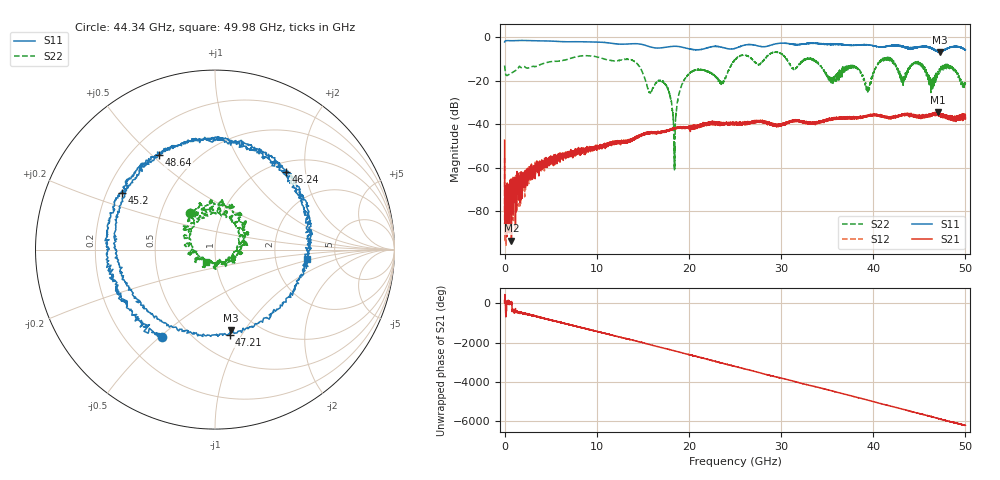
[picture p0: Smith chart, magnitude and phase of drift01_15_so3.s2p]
!Created with skrf (http://scikit-rf.org).
# Hz S RI R 50.0
!freq ReS11 ImS11 ReS21 ImS21 ReS12 ImS12 ReS22 ImS22
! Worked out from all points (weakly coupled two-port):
!   10001 points, 300 kHz to 50 GHz, reference 50 ohm
!   highest |S21| = -34.29 dB at 47 GHz (marker M1); lowest = -93.6 dB at 745.3 MHz (marker M2)
!   lowest |S11| = -6.8 dB at 47.21 GHz (marker M3), VSWR 2.69, Z = 38.1 - j43.5 ohm
!   |S11| at or under -10 dB: nowhere
!   |S22| runs from -61.0 to -6.6 dB; largest |S21 - S12| = 0.0041
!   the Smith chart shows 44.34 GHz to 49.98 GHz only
!   S11 on the Smith chart (normalised r, x): 44.34 GHz: 0.35, -0.51; 45.2 GHz: 0.26, +0.26; 46.24 GHz: 1.18, +1.56; 47.21 GHz: 0.72, -0.89; 48.64 GHz: 0.31, +0.53; 49.98 GHz: 3.05, -0.43
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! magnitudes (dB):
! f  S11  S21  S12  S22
! 300 kHz  -2.1  -47.3  -55.3  -12.9
! 255.3 MHz  -1.4  -76.8  -75.8  -17.5
! 745.3 MHz  -1.5  -93.6  -77.9  -16.3
! 8.335 GHz  -2.0  -51.7  -52.2  -8.5
! 16.67 GHz  -4.9  -43.7  -44.0  -20.0
! 17.74 GHz  -4.3  -42.7  -43.0  -23.6
! 18.43 GHz  -4.1  -41.8  -41.8  -61.0
! 19.9 GHz  -5.1  -41.4  -41.3  -17.2
! 23.6 GHz  -4.5  -39.5  -39.1  -20.6
! 25 GHz  -5.0  -39.3  -39.8  -10.4
! 33.34 GHz  -2.6  -39.4  -39.5  -10.0
! 39.37 GHz  -3.4  -36.2  -36.1  -23.5
! 41.67 GHz  -3.9  -36.8  -36.6  -9.9
! 44.34 GHz  -4.9  -35.8  -35.9  -12.2
! 45.2 GHz  -4.3  -36.2  -36.6  -12.3
! 46.24 GHz  -4.6  -35.8  -35.7  -22.8
! 47 GHz  -6.5  -34.3  -35.7  -15.6
! 47.21 GHz  -6.4  -35.6  -35.3  -14.8
! 47.21 GHz  -6.8  -35.7  -35.7  -14.8
! 48.64 GHz  -4.3  -37.2  -37.8  -14.3
! 49.98 GHz  -5.8  -36.0  -36.1  -21.2
! 50 GHz  -5.7  -37.6  -37.4  -21.4
